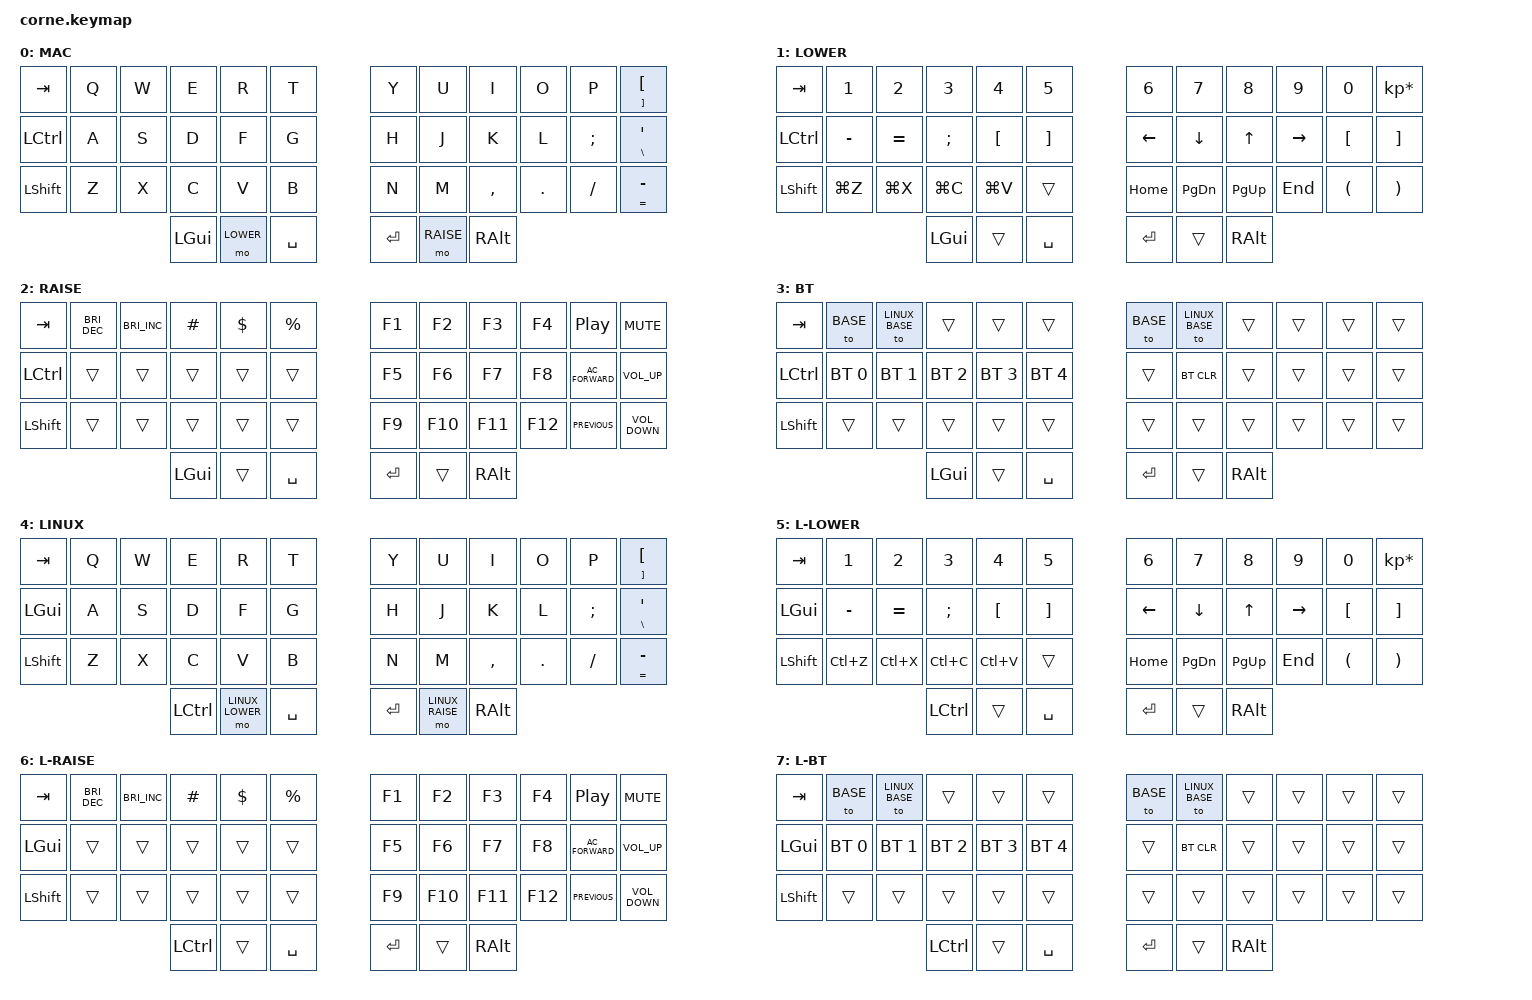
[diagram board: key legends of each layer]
/*
 * Copyright (c) 2020 The ZMK Contributors
 *
 * SPDX-License-Identifier: MIT
 */

#include <behaviors.dtsi>
#include <dt-bindings/zmk/bt.h>
#include <dt-bindings/zmk/keys.h>

#define BASE 0
#define LOWER 1
#define RAISE 2
#define BT 3

#define LINUX_BASE 4
#define LINUX_LOWER 5
#define LINUX_RAISE 6
#define LINUX_BT 7

/ {
    combos {
        compatible = "zmk,combos";

        combo_esc {
            timeout-ms = <50>;
            key-positions = <1 2>;
            bindings = <&kp ESC>;
        };

        combo_backspace {
            timeout-ms = <50>;
            key-positions = <9 10>;
            layers = <BASE RAISE LINUX_BASE LINUX_RAISE>;
            bindings = <&kp BACKSPACE>;
        };

        combo_delete {
            timeout-ms = <50>;
            key-positions = <21 22>;
            bindings = <&kp DELETE>;
        };
    };

    behaviors {
        ss_hs_modmorph: ss_hs_modmorph {
            compatible = "zmk,behavior-mod-morph";
            label = "SS_HS_MODMORPH";
            bindings = <&kp M>, <&kp RIGHT_BRACKET>;
            #binding-cells = <0>;
            mods = <(MOD_LSFT|MOD_RSFT)>;
        };

        kh_hs_tapdance: kh_hs_tapdance {
            compatible = "zmk,behavior-tap-dance";
            label = "KH_HS_TAPDANCE";
            #binding-cells = <0>;
            tapping-term-ms = <200>;
            bindings = <&kp LEFT_BRACKET>, <&kp RIGHT_BRACKET>;
        };

        hrm: hrm {
            compatible = "zmk,behavior-hold-tap";
            #binding-cells = <2>;
            flavor = "tap-preferred";
            tapping-term-ms = <200>;
            quick-tap-ms = <200>;
            require-prior-idle-ms = <125>;
            bindings = <&kp>, <&kp>;
        };
    };

    keymap {
        compatible = "zmk,keymap";

        default_layer {
            display-name = "MAC";
            bindings = <
                &kp TAB   &kp Q     &kp W     &kp E     &kp R     &kp T        &kp Y     &kp U       &kp I       &kp O      &kp P     &mt RIGHT_BRACKET LEFT_BRACKET
                &kp LCTRL &kp A     &kp S     &kp D     &kp F     &kp G        &kp H     &kp J       &kp K       &kp L      &kp SEMI  &mt BACKSLASH SQT
                &kp LSHFT &kp Z     &kp X     &kp C     &kp V     &kp B        &kp N     &kp M       &kp COMMA   &kp DOT    &kp FSLH  &mt EQUAL MINUS
                                      &kp LGUI  &mo LOWER &kp SPACE  &kp RET      &mo RAISE &kp RALT
            >;
        };

        lower_layer {
            display-name = "LOWER";
            bindings = <
                &kp TAB   &kp NUMBER_1 &kp NUMBER_2 &kp NUMBER_3 &kp NUMBER_4 &kp N5       &kp NUMBER_6 &kp N7        &kp N8       &kp N9     &kp N0     &kp KP_ASTERISK
                &kp LCTRL &kp MINUS    &kp EQUAL    &kp SEMI     &kp LBKT     &kp RBKT     &kp LEFT_ARROW &kp DOWN_ARROW &kp UP_ARROW &kp RIGHT  &kp LBKT   &kp RBKT
                &kp LSHFT &kp LG(Z)    &kp LG(X)    &kp LG(C)    &kp LG(V)    &trans       &kp HOME     &kp PAGE_DOWN &kp PAGE_UP  &kp END    &kp LEFT_PARENTHESIS &kp RIGHT_PARENTHESIS
                                                                  &kp LGUI     &trans       &kp SPACE    &kp RET       &trans      &kp RALT
            >;
        };

        raise_layer {
            display-name = "RAISE";
            bindings = <
                &kp TAB   &kp C_BRIGHTNESS_DEC &kp C_BRI_INC &kp HASH  &kp DLLR  &kp PRCNT     &kp F1    &kp F2     &kp F3     &kp F4    &kp C_PP          &kp K_MUTE
                &kp LCTRL &trans               &trans        &trans    &trans    &trans        &kp F5    &kp F6     &kp F7     &kp F8    &kp C_AC_FORWARD  &kp C_VOLUME_UP
                &kp LSHFT &trans               &trans        &trans    &trans    &trans        &kp F9    &kp F10    &kp F11    &kp F12   &kp C_PREVIOUS    &kp C_VOLUME_DOWN
                                                                           &kp LGUI &trans    &kp SPACE  &kp RET   &trans       &kp RALT
            >;
        };

        bt_layer {
            display-name = "BT";
            bindings = <
                &kp TAB   &to BASE     &to LINUX_BASE &trans       &trans       &trans        &to BASE     &to LINUX_BASE &trans       &trans       &trans     &trans
                &kp LCTRL &bt BT_SEL 0 &bt BT_SEL 1   &bt BT_SEL 2 &bt BT_SEL 3 &bt BT_SEL 4  &trans       &bt BT_CLR     &trans       &trans       &trans     &trans
                &kp LSHFT &trans       &trans         &trans       &trans       &trans        &trans       &trans         &trans       &trans       &trans     &trans
                                            &kp LGUI   &trans       &kp SPACE    &kp RET       &trans       &kp RALT
            >;
        };

        linux_base_layer {
            display-name = "LINUX";
            bindings = <
                &kp TAB   &kp Q     &kp W           &kp E     &kp R     &kp T        &kp Y     &kp U           &kp I       &kp O      &kp P     &mt RIGHT_BRACKET LEFT_BRACKET
                &kp LGUI  &kp A     &kp S           &kp D     &kp F     &kp G        &kp H     &kp J           &kp K       &kp L      &kp SEMI  &mt BACKSLASH SQT
                &kp LSHFT &kp Z     &kp X           &kp C     &kp V     &kp B        &kp N     &kp M           &kp COMMA   &kp DOT    &kp FSLH  &mt EQUAL MINUS
                                      &kp LCTRL      &mo LINUX_LOWER &kp SPACE &kp RET &mo LINUX_RAISE &kp RALT
            >;
        };

        linux_lower_layer {
            display-name = "L-LOWER";
            bindings = <
                &kp TAB   &kp NUMBER_1 &kp NUMBER_2 &kp NUMBER_3 &kp NUMBER_4 &kp N5       &kp NUMBER_6 &kp N7        &kp N8       &kp N9     &kp N0     &kp KP_ASTERISK
                &kp LGUI  &kp MINUS    &kp EQUAL    &kp SEMI     &kp LBKT     &kp RBKT     &kp LEFT_ARROW &kp DOWN_ARROW &kp UP_ARROW &kp RIGHT  &kp LBKT   &kp RBKT
                &kp LSHFT &kp LC(Z)    &kp LC(X)    &kp LC(C)    &kp LC(V)    &trans       &kp HOME     &kp PAGE_DOWN &kp PAGE_UP  &kp END    &kp LEFT_PARENTHESIS &kp RIGHT_PARENTHESIS
                                                                  &kp LCTRL    &trans       &kp SPACE    &kp RET       &trans      &kp RALT
            >;
        };

        linux_raise_layer {
            display-name = "L-RAISE";
            bindings = <
                &kp TAB   &kp C_BRIGHTNESS_DEC &kp C_BRI_INC &kp HASH  &kp DLLR  &kp PRCNT     &kp F1    &kp F2     &kp F3     &kp F4    &kp C_PP          &kp K_MUTE
                &kp LGUI  &trans               &trans        &trans    &trans    &trans        &kp F5    &kp F6     &kp F7     &kp F8    &kp C_AC_FORWARD  &kp C_VOLUME_UP
                &kp LSHFT &trans               &trans        &trans    &trans    &trans        &kp F9    &kp F10    &kp F11    &kp F12   &kp C_PREVIOUS    &kp C_VOLUME_DOWN
                                                                           &kp LCTRL &trans   &kp SPACE  &kp RET   &trans       &kp RALT
            >;
        };

        linux_bt_layer {
            display-name = "L-BT";
            bindings = <
                &kp TAB   &to BASE     &to LINUX_BASE &trans       &trans       &trans        &to BASE     &to LINUX_BASE &trans       &trans       &trans     &trans
                &kp LGUI  &bt BT_SEL 0 &bt BT_SEL 1   &bt BT_SEL 2 &bt BT_SEL 3 &bt BT_SEL 4  &trans       &bt BT_CLR     &trans       &trans       &trans     &trans
                &kp LSHFT &trans       &trans         &trans       &trans       &trans        &trans       &trans         &trans       &trans       &trans     &trans
                                            &kp LCTRL  &trans       &kp SPACE    &kp RET       &trans       &kp RALT
            >;
        };
    };

    conditional_layers {
        compatible = "zmk,conditional-layers";

        bt_layer {
            if-layers = <LOWER RAISE>;
            then-layer = <BT>;
        };

        linux_bt_layer {
            if-layers = <LINUX_LOWER LINUX_RAISE>;
            then-layer = <LINUX_BT>;
        };
    };
};
